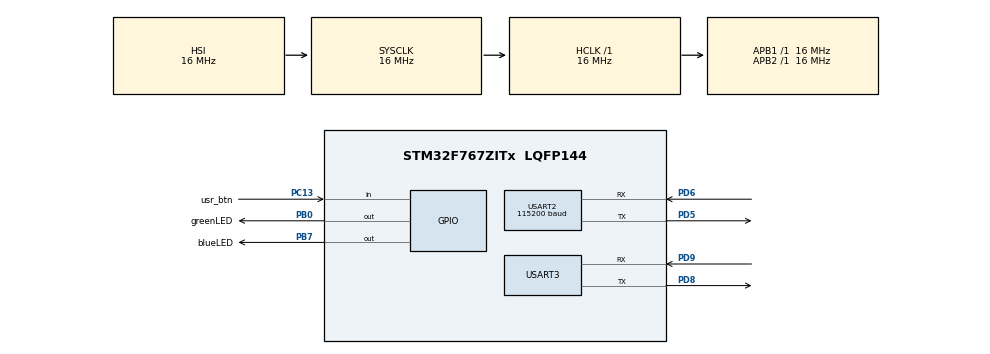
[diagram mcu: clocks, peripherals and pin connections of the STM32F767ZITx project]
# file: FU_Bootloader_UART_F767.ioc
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CORTEX_M7.AccessPermission-Cortex_Memory_Protection_Unit_Region0_Settings=MPU_REGION_FULL_ACCESS
CORTEX_M7.BaseAddress-Cortex_Memory_Protection_Unit_Region0_Settings=0x20020000
CORTEX_M7.CPU_DCache=Enabled
CORTEX_M7.CPU_ICache=Enabled
CORTEX_M7.DisableExec-Cortex_Memory_Protection_Unit_Region0_Settings=MPU_INSTRUCTION_ACCESS_DISABLE
CORTEX_M7.Enable-Cortex_Memory_Protection_Unit_Region0_Settings=MPU_REGION_ENABLE
CORTEX_M7.IsBufferable-Cortex_Memory_Protection_Unit_Region0_Settings=MPU_ACCESS_NOT_BUFFERABLE
CORTEX_M7.IsShareable-Cortex_Memory_Protection_Unit_Region0_Settings=MPU_ACCESS_SHAREABLE
CORTEX_M7.MPU_Control=MPU_PRIVILEGED_DEFAULT
CORTEX_M7.PREFETCH_ENABLE=1
CORTEX_M7.Size-Cortex_Memory_Protection_Unit_Region0_Settings=MPU_REGION_SIZE_1KB
Dma.Request0=USART2_RX
Dma.Request1=USART3_TX
Dma.USART2_RX.0.Direction=DMA_PERIPH_TO_MEMORY
Dma.USART2_RX.0.FIFOMode=DMA_FIFOMODE_DISABLE
Dma.USART2_RX.0.Instance=DMA1_Stream5
Dma.USART2_RX.0.MemDataAlignment=DMA_MDATAALIGN_BYTE
Dma.USART2_RX.0.MemInc=DMA_MINC_ENABLE
Dma.USART2_RX.0.Mode=DMA_NORMAL
Dma.USART2_RX.0.PeriphDataAlignment=DMA_PDATAALIGN_BYTE
Dma.USART2_RX.0.PeriphInc=DMA_PINC_DISABLE
Dma.USART2_RX.0.Priority=DMA_PRIORITY_LOW
Dma.USART3_TX.1.Direction=DMA_MEMORY_TO_PERIPH
Dma.USART3_TX.1.FIFOMode=DMA_FIFOMODE_DISABLE
Dma.USART3_TX.1.Instance=DMA1_Stream3
Dma.USART3_TX.1.MemDataAlignment=DMA_MDATAALIGN_BYTE
Dma.USART3_TX.1.MemInc=DMA_MINC_ENABLE
Dma.USART3_TX.1.Mode=DMA_NORMAL
Dma.USART3_TX.1.PeriphDataAlignment=DMA_PDATAALIGN_BYTE
Dma.USART3_TX.1.PeriphInc=DMA_PINC_DISABLE
Dma.USART3_TX.1.Priority=DMA_PRIORITY_LOW
Mcu.Family=STM32F7
Mcu.Name=STM32F767ZITx
Mcu.Package=LQFP144
NVIC.DMA1_Stream3_IRQn=true\:0\:0\:false\:false\:true\:false\:true\:true
NVIC.DMA1_Stream5_IRQn=true\:0\:0\:false\:false\:true\:false\:true\:true
NVIC.PriorityGroup=NVIC_PRIORITYGROUP_4
NVIC.USART2_IRQn=true\:0\:0\:false\:false\:true\:true\:true\:true
NVIC.USART3_IRQn=true\:0\:0\:false\:false\:true\:true\:true\:true
PB0.GPIO_Label=greenLED
PB0.Signal=GPIO_Output
PB7.GPIO_Label=blueLED
PB7.Signal=GPIO_Output
PC13.GPIO_Label=usr_btn
PC13.Signal=GPIO_Input
PD5.Mode=Asynchronous
PD5.Signal=USART2_TX
PD6.Mode=Asynchronous
PD6.Signal=USART2_RX
PD8.Mode=Asynchronous
PD8.Signal=USART3_TX
PD9.Mode=Asynchronous
PD9.Signal=USART3_RX
ProjectManager.HeapSize=0x200
ProjectManager.StackSize=0x400
ProjectManager.TargetToolchain=STM32CubeIDE
RCC.AHBFreq_Value=16000000
RCC.APB1Freq_Value=16000000
RCC.APB1TimCLKDivider=1
RCC.APB1TimFreq_Value=16000000
RCC.APB2Freq_Value=16000000
RCC.APB2TimFreq_Value=16000000
RCC.CortexFreq_Value=16000000
RCC.HCLKFreq_Value=16000000
RCC.HSE_VALUE=25000000
RCC.HSI_VALUE=16000000
RCC.LSE_VALUE=32768
RCC.SYSCLKFreq_VALUE=16000000
RCC.USBFreq_Value=96000000
RCC.VCOOutputFreq_Value=192000000
USART2.BaudRate=115200
USART2.VirtualMode-Asynchronous=VM_ASYNC
USART3.VirtualMode-Asynchronous=VM_ASYNC
VP_CRC_VS_CRC.Mode=CRC_Activate
board=custom

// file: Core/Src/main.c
/* USER CODE BEGIN Header */
/**
 ******************************************************************************
 * @file           : main.c
 * @brief          : Main program body
 ******************************************************************************
 * @attention
 *
 * Copyright (c) 2024 STMicroelectronics.
 * All rights reserved.
 *
 * This software is licensed under terms that can be found in the LICENSE file
 * in the root directory of this software component.
 * If no LICENSE file comes with this software, it is provided AS-IS.
 *
 ******************************************************************************
 */
/* USER CODE END Header */
#include <FU_Bootloader_UART.h>
#include "main.h"

/* USER CODE BEGIN PM */
#define MAJOR 0  // Major Version Number
#define MINOR 1  // Minor Version Number
/* USER CODE END PM */

CRC_HandleTypeDef hcrc;

UART_HandleTypeDef huart2;
UART_HandleTypeDef huart3;
DMA_HandleTypeDef hdma_usart2_rx;
DMA_HandleTypeDef hdma_usart3_tx;

/* USER CODE BEGIN PV */
const uint8_t BL_Version[2] = { MAJOR, MINOR };

uint8_t printReady_flag = 1;
uint8_t printBuffer[50];

/* Buffer to hold the received data */
__attribute__ ((section(".rxBuffer"), used)) uint8_t Rx_Buffer[OTA_PCKT_MAX_SIZE];

/* Buffer to hold the meta data of firmware*/
const unsigned char __attribute__((section(".appData"))) appMdata[200];
/* USER CODE END PV */

void SystemClock_Config(void);
static void MPU_Config(void);
static void MX_GPIO_Init(void);
static void MX_DMA_Init(void);
static void MX_USART3_UART_Init(void);
static void MX_USART2_UART_Init(void);
static void MX_CRC_Init(void);
/* USER CODE BEGIN PFP */

void go2app() {
//	printf("Going to Application \n");
	void (*jumpToApp)(
			void)= (void*) (*(volatile uint32_t *)(APP2_FLASH_ADDR +4));
	HAL_GPIO_WritePin(greenLED_GPIO_Port, greenLED_Pin, 0);

	jumpToApp();	//call the application reset handler
}

void HAL_UART_TxCpltCallback(UART_HandleTypeDef *huart) {
	if (huart->Instance == USART3) {
		printReady_flag = 1;
	}
}

void myprintf(const char *str) {
	while (!printReady_flag)
		;
	HAL_UART_Transmit_IT(&huart3, (uint8_t*) str, strlen(str));
	printReady_flag = 0;
}

/* USER CODE END PFP */

int main(void)
{

  /* MPU Configuration--------------------------------------------------------*/
  MPU_Config();

  /* Enable I-Cache---------------------------------------------------------*/
  SCB_EnableICache();

  /* Enable D-Cache---------------------------------------------------------*/
  SCB_EnableDCache();

  /* MCU Configuration--------------------------------------------------------*/

  /* Reset of all peripherals, Initializes the Flash interface and the Systick. */
  HAL_Init();

  /* Configure the system clock */
  SystemClock_Config();

  /* Initialize all configured peripherals */
  MX_GPIO_Init();
  MX_DMA_Init();
  MX_USART3_UART_Init();
  MX_USART2_UART_Init();
  MX_CRC_Init();
  /* USER CODE BEGIN 2 */
	snprintf((char*) printBuffer, sizeof(printBuffer),
			"Starting Bootloader v%d.%d\n", BL_Version[0], BL_Version[1]);
	myprintf((char*) printBuffer);
	HAL_GPIO_WritePin(greenLED_GPIO_Port, greenLED_Pin, 1); // Turn the BL indicator ON
	myprintf("Press user button for  OTA update mode..\n");
	uint32_t waitTime_start = HAL_GetTick();
	uint8_t OTA_Pin_state = 0;
// Check if user presses OTA update mode button, wait for 4 secs
	do {
		OTA_Pin_state = HAL_GPIO_ReadPin(usr_btn_GPIO_Port, usr_btn_Pin);
	} while (HAL_GetTick() - waitTime_start < 4000 && OTA_Pin_state == 0);

	if (OTA_Pin_state == 1) {
		myprintf("Starting OTA Update!!\r\n");
		OTA_update();
	}

	go2app();
  /* USER CODE END 2 */

  /* Infinite loop */
	while (1) {

	}
}

void SystemClock_Config(void)
{
  RCC_OscInitTypeDef RCC_OscInitStruct = {0};
  RCC_ClkInitTypeDef RCC_ClkInitStruct = {0};

  /** Configure the main internal regulator output voltage
  */
  __HAL_RCC_PWR_CLK_ENABLE();
  __HAL_PWR_VOLTAGESCALING_CONFIG(PWR_REGULATOR_VOLTAGE_SCALE3);

  /** Initializes the RCC Oscillators according to the specified parameters
  * in the RCC_OscInitTypeDef structure.
  */
  RCC_OscInitStruct.OscillatorType = RCC_OSCILLATORTYPE_HSI;
  RCC_OscInitStruct.HSIState = RCC_HSI_ON;
  RCC_OscInitStruct.HSICalibrationValue = RCC_HSICALIBRATION_DEFAULT;
  RCC_OscInitStruct.PLL.PLLState = RCC_PLL_NONE;
  if (HAL_RCC_OscConfig(&RCC_OscInitStruct) != HAL_OK)
  {
    Error_Handler();
  }

  /** Initializes the CPU, AHB and APB buses clocks
  */
  RCC_ClkInitStruct.ClockType = RCC_CLOCKTYPE_HCLK|RCC_CLOCKTYPE_SYSCLK
                              |RCC_CLOCKTYPE_PCLK1|RCC_CLOCKTYPE_PCLK2;
  RCC_ClkInitStruct.SYSCLKSource = RCC_SYSCLKSOURCE_HSI;
  RCC_ClkInitStruct.AHBCLKDivider = RCC_SYSCLK_DIV1;
  RCC_ClkInitStruct.APB1CLKDivider = RCC_HCLK_DIV1;
  RCC_ClkInitStruct.APB2CLKDivider = RCC_HCLK_DIV1;

  if (HAL_RCC_ClockConfig(&RCC_ClkInitStruct, FLASH_LATENCY_0) != HAL_OK)
  {
    Error_Handler();
  }
}

static void MX_CRC_Init(void)
{

  hcrc.Instance = CRC;
  hcrc.Init.DefaultPolynomialUse = DEFAULT_POLYNOMIAL_ENABLE;
  hcrc.Init.DefaultInitValueUse = DEFAULT_INIT_VALUE_ENABLE;
  hcrc.Init.InputDataInversionMode = CRC_INPUTDATA_INVERSION_NONE;
  hcrc.Init.OutputDataInversionMode = CRC_OUTPUTDATA_INVERSION_DISABLE;
  hcrc.InputDataFormat = CRC_INPUTDATA_FORMAT_BYTES;
  if (HAL_CRC_Init(&hcrc) != HAL_OK)
  {
    Error_Handler();
  }

}

static void MX_USART2_UART_Init(void)
{

  huart2.Instance = USART2;
  huart2.Init.BaudRate = 115200;
  huart2.Init.WordLength = UART_WORDLENGTH_8B;
  huart2.Init.StopBits = UART_STOPBITS_1;
  huart2.Init.Parity = UART_PARITY_NONE;
  huart2.Init.Mode = UART_MODE_TX_RX;
  huart2.Init.HwFlowCtl = UART_HWCONTROL_NONE;
  huart2.Init.OverSampling = UART_OVERSAMPLING_16;
  huart2.Init.OneBitSampling = UART_ONE_BIT_SAMPLE_DISABLE;
  huart2.AdvancedInit.AdvFeatureInit = UART_ADVFEATURE_NO_INIT;
  if (HAL_UART_Init(&huart2) != HAL_OK)
  {
    Error_Handler();
  }

}

static void MX_USART3_UART_Init(void)
{

  huart3.Instance = USART3;
  huart3.Init.BaudRate = 115200;
  huart3.Init.WordLength = UART_WORDLENGTH_8B;
  huart3.Init.StopBits = UART_STOPBITS_1;
  huart3.Init.Parity = UART_PARITY_NONE;
  huart3.Init.Mode = UART_MODE_TX_RX;
  huart3.Init.HwFlowCtl = UART_HWCONTROL_NONE;
  huart3.Init.OverSampling = UART_OVERSAMPLING_16;
  huart3.Init.OneBitSampling = UART_ONE_BIT_SAMPLE_DISABLE;
  huart3.AdvancedInit.AdvFeatureInit = UART_ADVFEATURE_NO_INIT;
  if (HAL_UART_Init(&huart3) != HAL_OK)
  {
    Error_Handler();
  }

}

static void MX_DMA_Init(void)
{

  /* DMA controller clock enable */
  __HAL_RCC_DMA1_CLK_ENABLE();

  /* DMA interrupt init */
  /* DMA1_Stream3_IRQn interrupt configuration */
  HAL_NVIC_SetPriority(DMA1_Stream3_IRQn, 0, 0);
  HAL_NVIC_EnableIRQ(DMA1_Stream3_IRQn);
  /* DMA1_Stream5_IRQn interrupt configuration */
  HAL_NVIC_SetPriority(DMA1_Stream5_IRQn, 0, 0);
  HAL_NVIC_EnableIRQ(DMA1_Stream5_IRQn);

}

static void MX_GPIO_Init(void)
{
  GPIO_InitTypeDef GPIO_InitStruct = {0};

  /* GPIO Ports Clock Enable */
  __HAL_RCC_GPIOC_CLK_ENABLE();
  __HAL_RCC_GPIOB_CLK_ENABLE();
  __HAL_RCC_GPIOD_CLK_ENABLE();

  /*Configure GPIO pin Output Level */
  HAL_GPIO_WritePin(GPIOB, greenLED_Pin|blueLED_Pin, GPIO_PIN_RESET);

  /*Configure GPIO pin : usr_btn_Pin */
  GPIO_InitStruct.Pin = usr_btn_Pin;
  GPIO_InitStruct.Mode = GPIO_MODE_INPUT;
  GPIO_InitStruct.Pull = GPIO_NOPULL;
  HAL_GPIO_Init(usr_btn_GPIO_Port, &GPIO_InitStruct);

  /*Configure GPIO pins : greenLED_Pin blueLED_Pin */
  GPIO_InitStruct.Pin = greenLED_Pin|blueLED_Pin;
  GPIO_InitStruct.Mode = GPIO_MODE_OUTPUT_PP;
  GPIO_InitStruct.Pull = GPIO_NOPULL;
  GPIO_InitStruct.Speed = GPIO_SPEED_FREQ_LOW;
  HAL_GPIO_Init(GPIOB, &GPIO_InitStruct);

}

/* MPU Configuration */

void MPU_Config(void)
{
  MPU_Region_InitTypeDef MPU_InitStruct = {0};

  /* Disables the MPU */
  HAL_MPU_Disable();

  /** Initializes and configures the Region and the memory to be protected
  */
  MPU_InitStruct.Enable = MPU_REGION_ENABLE;
  MPU_InitStruct.Number = MPU_REGION_NUMBER0;
  MPU_InitStruct.BaseAddress = 0x20020000;
  MPU_InitStruct.Size = MPU_REGION_SIZE_1KB;
  MPU_InitStruct.SubRegionDisable = 0x0;
  MPU_InitStruct.TypeExtField = MPU_TEX_LEVEL0;
  MPU_InitStruct.AccessPermission = MPU_REGION_FULL_ACCESS;
  MPU_InitStruct.DisableExec = MPU_INSTRUCTION_ACCESS_DISABLE;
  MPU_InitStruct.IsShareable = MPU_ACCESS_SHAREABLE;
  MPU_InitStruct.IsCacheable = MPU_ACCESS_NOT_CACHEABLE;
  MPU_InitStruct.IsBufferable = MPU_ACCESS_NOT_BUFFERABLE;

  HAL_MPU_ConfigRegion(&MPU_InitStruct);
  /* Enables the MPU */
  HAL_MPU_Enable(MPU_PRIVILEGED_DEFAULT);

}

void Error_Handler(void)
{
	__disable_irq();
	while (1) {
	}
}
